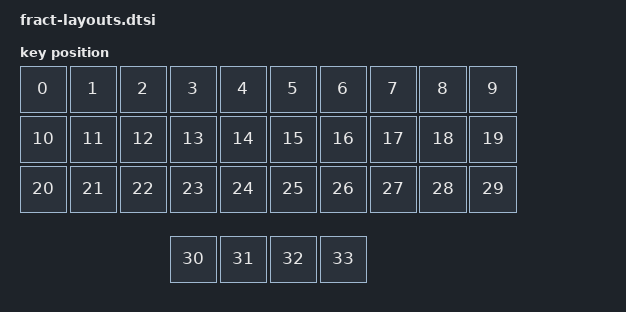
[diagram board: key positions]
#include <physical_layouts.dtsi>

/ {
    fract_layout: fract_layout {
        compatible = "zmk,physical-layout";
        display-name = "Fract";
        transform = <&default_transform>;
        kscan = <&kscan0>;
        keys  //                     w   h    x    y     rot    rx    ry
            = <&key_physical_attrs 100 100    0    0       0     0     0>
            , <&key_physical_attrs 100 100  100    0       0     0     0>
            , <&key_physical_attrs 100 100  200    0       0     0     0>
            , <&key_physical_attrs 100 100  300    0       0     0     0>
            , <&key_physical_attrs 100 100  400    0       0     0     0>
            , <&key_physical_attrs 100 100  500    0       0     0     0>
            , <&key_physical_attrs 100 100  600    0       0     0     0>
            , <&key_physical_attrs 100 100  700    0       0     0     0>
            , <&key_physical_attrs 100 100  800    0       0     0     0>
            , <&key_physical_attrs 100 100  900    0       0     0     0>
            , <&key_physical_attrs 100 100    0  100       0     0     0>
            , <&key_physical_attrs 100 100  100  100       0     0     0>
            , <&key_physical_attrs 100 100  200  100       0     0     0>
            , <&key_physical_attrs 100 100  300  100       0     0     0>
            , <&key_physical_attrs 100 100  400  100       0     0     0>
            , <&key_physical_attrs 100 100  500  100       0     0     0>
            , <&key_physical_attrs 100 100  600  100       0     0     0>
            , <&key_physical_attrs 100 100  700  100       0     0     0>
            , <&key_physical_attrs 100 100  800  100       0     0     0>
            , <&key_physical_attrs 100 100  900  100       0     0     0>
            , <&key_physical_attrs 100 100    0  200       0     0     0>
            , <&key_physical_attrs 100 100  100  200       0     0     0>
            , <&key_physical_attrs 100 100  200  200       0     0     0>
            , <&key_physical_attrs 100 100  300  200       0     0     0>
            , <&key_physical_attrs 100 100  400  200       0     0     0>
            , <&key_physical_attrs 100 100  500  200       0     0     0>
            , <&key_physical_attrs 100 100  600  200       0     0     0>
            , <&key_physical_attrs 100 100  700  200       0     0     0>
            , <&key_physical_attrs 100 100  800  200       0     0     0>
            , <&key_physical_attrs 100 100  900  200       0     0     0>
            , <&key_physical_attrs 100 100  300  340       0     0     0>
            , <&key_physical_attrs 100 100  400  340       0     0     0>
            , <&key_physical_attrs 100 100  500  340       0     0     0>
            , <&key_physical_attrs 100 100  600  340       0     0     0>
            ;
    };
};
